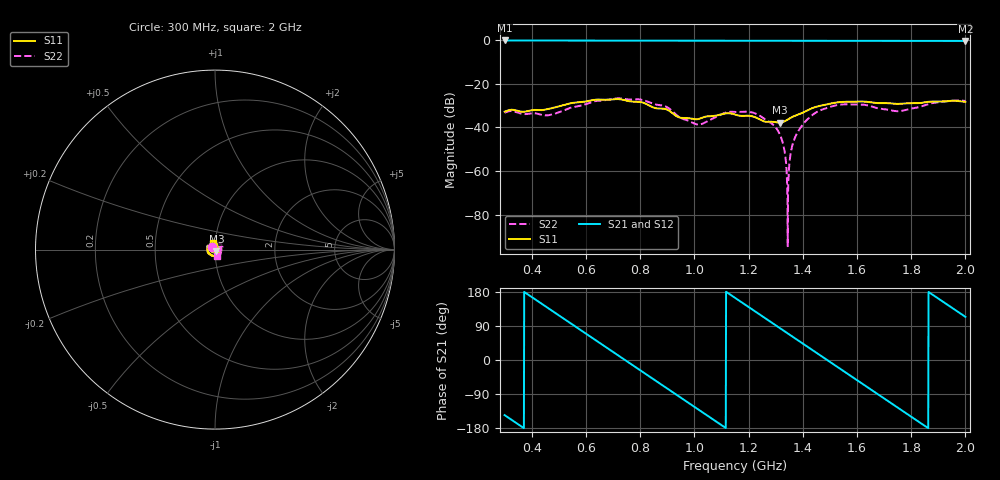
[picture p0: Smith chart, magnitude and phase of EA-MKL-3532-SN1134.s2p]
!Agilent Technologies,E5071C,MY46523136,B.13.10
!Date: Thu Jun 11 13:55:00 2020
!Data & Calibration Information:
!Freq	S11:SOLT2(ON)	S21:SOLT2(ON)	S12:SOLT2(ON)	S22:SOLT2(ON)
!PortZ  Port1:50+j0  Port2:50+j0
!Above PortZ is port z conversion or system Z0 setting when saving the data.
!When reading, reference impedance value at option line is always used.
# Hz S dB R 50
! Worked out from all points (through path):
!   1601 points, 300 MHz to 2 GHz, reference 50 ohm
!   highest |S21| = -0.13 dB at 300 MHz (marker M1); lowest = -0.4 dB at 2 GHz (marker M2)
!   group delay of S21, straight-line fit = 1.34 ns
!   lowest |S11| = -37.8 dB at 1.317 GHz (marker M3), VSWR 1.03, Z = 50.8 - j1.04 ohm
!   |S11| at or under -10 dB: start of sweep to end of sweep
!   |S22| runs from -94.5 to -26.7 dB; largest |S21 - S12| = 0.00048
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3e8  -32.77 121.6  -0.13 -145.5  -0.13 -145.5  -33.28 138.7
4.25375e8  -32.03 12.8  -0.16 153.9  -0.16 153.9  -33.87 104.8
5.0825e8  -30.09 -61.2  -0.17 113.9  -0.17 113.9  -32.77 102.4
5.836875e8  -28.40 -118.5  -0.19 77.4  -0.19 77.4  -29.94 90.7
6.63375e8  -27.30 -173.7  -0.21 39.0  -0.21 39.0  -27.64 66.4
7.2925e8  -27.15 140.5  -0.22 7.2  -0.22 7.2  -26.71 44.2
7.95125e8  -28.28 96.8  -0.22 -24.6  -0.22 -24.6  -27.15 18.2
8.67375e8  -31.34 44.4  -0.23 -59.5  -0.23 -59.5  -29.71 -9.1
9.895625e8  -35.95 -75.6  -0.24 -118.5  -0.24 -118.5  -37.62 -16.1
1.0735e9  -34.73 -170.8  -0.25 -159.0  -0.25 -159.0  -35.61 18.5
1.15e9  -34.08 124.8  -0.26 164.1  -0.26 164.1  -32.90 2.4
1.233938e9  -35.88 49.2  -0.27 123.6  -0.27 123.6  -34.14 -28.4
1.316812e9  -37.84 -53.4  -0.28 83.6  -0.28 83.6  -43.56 -66.0
1.3455e9  -36.34 -94.9  -0.28 69.7  -0.28 69.7  -72.58 99.7
1.371e9  -34.66 -122.1  -0.28 57.4  -0.28 57.4  -44.75 89.8
1.433688e9  -31.23 -177.0  -0.29 27.1  -0.29 27.1  -34.47 64.6
1.554812e9  -28.26 95.6  -0.31 -31.3  -0.31 -31.3  -29.43 15.7
1.639812e9  -28.31 32.9  -0.32 -72.3  -0.32 -72.3  -29.91 -10.8
1.717375e9  -28.92 -31.2  -0.32 -109.7  -0.32 -109.7  -31.93 -19.9
1.792812e9  -28.91 -97.6  -0.33 -146.2  -0.33 -146.2  -31.62 -13.1
1.858688e9  -28.34 -152.5  -0.34 -177.9  -0.34 -177.9  -29.49 -19.8
2e9  -28.28 110.1  -0.36 113.9  -0.36 113.9  -27.88 -70.8
